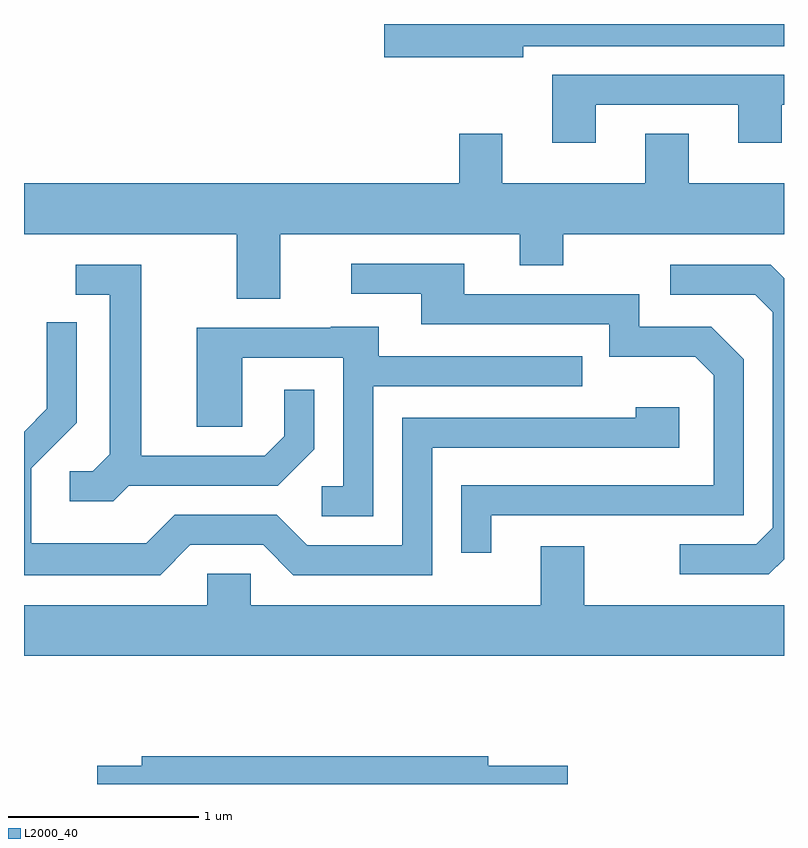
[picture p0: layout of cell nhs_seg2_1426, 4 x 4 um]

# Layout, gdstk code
import gdstk
lib = gdstk.Library(unit=1e-6, precision=1e-09)
def P(c, l, *ps):  # polygons
    for p in ps: c.add(gdstk.Polygon(p, *l))
L2000_40 = (2000, 40)

nhs_seg2_1426 = lib.new_cell('nhs_seg2_1426')
P(nhs_seg2_1426, L2000_40, [(228.239,1113.686),(229.611,1113.686),(229.611,1113.802),(227.506,1113.802),(227.506,1113.626),(228.239,1113.626)],
  [(228.619,1113.376),(229.371,1113.376),(229.371,1113.176),(229.599,1113.176),(229.599,1113.376),(229.611,1113.376),(229.611,1113.534),(228.391,1113.534),(228.391,1113.176),(228.619,1113.176)],
  [(226.959,1112.696),(228.221,1112.696),(228.221,1112.531),(228.449,1112.531),(228.449,1112.696),(229.611,1112.696),(229.611,1112.964),(229.109,1112.964),(229.109,1113.224),(228.881,1113.224),(228.881,1112.964),(228.129,1112.964),(228.129,1113.224),(227.901,1113.224),(227.901,1112.964),(225.611,1112.964),(225.611,1112.696),(226.731,1112.696),(226.731,1112.356),(226.959,1112.356)],
  [(228.069,1111.216),(229.399,1111.216),(229.399,1112.037),(229.227,1112.209),(228.849,1112.209),(228.849,1112.379),(227.929,1112.379),(227.929,1112.539),(227.333,1112.539),(227.333,1112.381),(227.701,1112.381),(227.701,1112.221),(228.691,1112.221),(228.691,1112.051),(229.144,1112.051),(229.241,1111.954),(229.241,1111.374),(227.911,1111.374),(227.911,1111.018),(228.069,1111.018)],
  [(226.162,1111.371),(226.947,1111.371),(227.139,1111.564),(227.139,1111.878),(226.981,1111.878),(226.981,1111.632),(226.879,1111.529),(226.229,1111.529),(226.229,1112.534),(225.883,1112.534),(225.883,1112.376),(226.061,1112.376),(226.061,1111.537),(225.974,1111.449),(225.853,1111.449),(225.853,1111.291),(226.082,1111.291)],
  [(229.611,1110.985),(229.611,1112.465),(229.542,1112.534),(229.013,1112.534),(229.013,1112.376),(229.459,1112.376),(229.551,1112.284),(229.551,1111.152),(229.464,1111.064),(229.063,1111.064),(229.063,1110.906),(229.532,1110.906)],
  [(226.487,1111.061),(226.869,1111.061),(227.029,1110.901),(227.759,1110.901),(227.759,1111.571),(229.059,1111.571),(229.059,1111.784),(228.831,1111.784),(228.831,1111.729),(227.601,1111.729),(227.601,1111.059),(227.102,1111.059),(226.942,1111.219),(226.404,1111.219),(226.254,1111.069),(225.649,1111.069),(225.649,1111.464),(225.889,1111.704),(225.889,1112.233),(225.731,1112.233),(225.731,1111.777),(225.611,1111.657),(225.611,1110.901),(226.327,1110.901)],
  [(227.449,1111.896),(228.548,1111.896),(228.548,1112.054),(227.479,1112.054),(227.479,1112.209),(227.225,1112.209),(227.225,1112.204),(226.521,1112.204),(226.521,1111.681),(226.759,1111.681),(226.759,1112.046),(227.291,1112.046),(227.291,1111.369),(227.178,1111.369),(227.178,1111.211),(227.449,1111.211)],
  [(229.611,1110.744),(228.559,1110.744),(228.559,1111.054),(228.331,1111.054),(228.331,1110.744),(226.804,1110.744),(226.804,1110.909),(226.576,1110.909),(226.576,1110.744),(225.611,1110.744),(225.611,1110.476),(229.611,1110.476)],
  [(228.474,1109.899),(228.054,1109.899),(228.054,1109.949),(226.231,1109.949),(226.231,1109.899),(225.996,1109.899),(225.996,1109.802),(228.474,1109.802)])

lib.write_gds('nhs_seg2_1426.gds')
